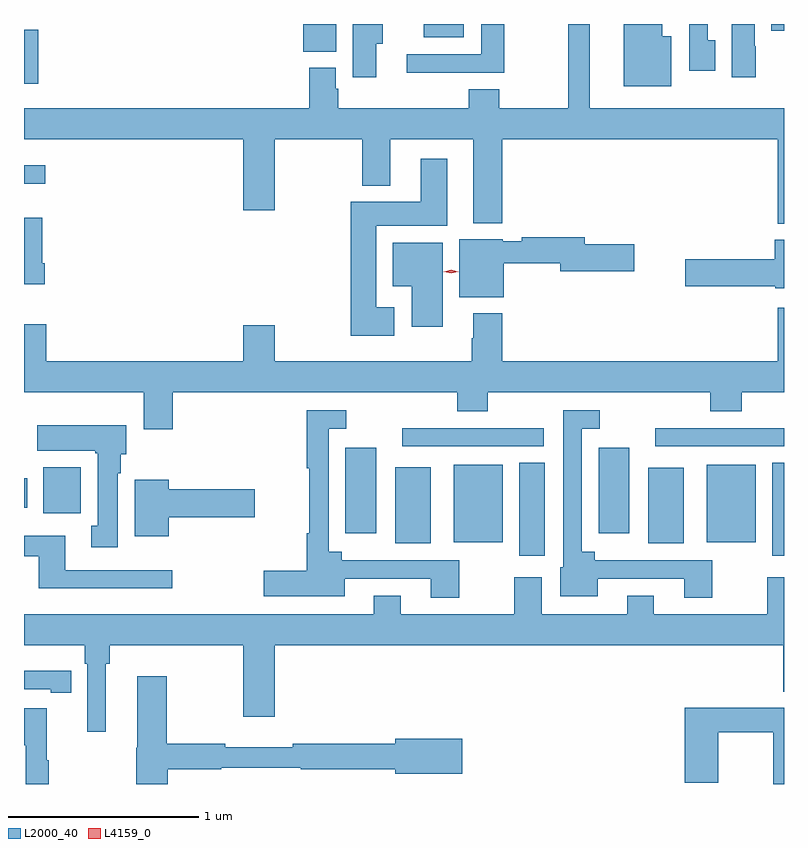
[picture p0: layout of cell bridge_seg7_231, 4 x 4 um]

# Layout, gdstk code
import gdstk
lib = gdstk.Library(unit=1e-6, precision=1e-09)
def R(c, l, rs):  # rectangles x0, y0, x1, y1
    for r in rs: c.add(gdstk.rectangle(r[:2], r[2:], *l))
def P(c, l, *ps):  # polygons
    for p in ps: c.add(gdstk.Polygon(p, *l))
L2000_40 = (2000, 40)
L4159_0 = (4159, 0)

bridge_seg7_231 = lib.new_cell('bridge_seg7_231')
R(bridge_seg7_231, L2000_40, [(274.352,1026.396,274.486,1026.887), (275.684,1026.396,275.745,1026.887), (273.698,1026.461,273.886,1026.862), (275.03,1026.461,275.218,1026.859), (274.007,1026.467,274.264,1026.874), (275.339,1026.467,275.596,1026.874), (273.437,1026.516,273.598,1026.964), (274.769,1026.516,274.93,1026.964), (271.847,1026.62,272.044,1026.862), (271.745,1026.648,271.762,1026.804), (273.735,1026.972,274.48,1027.068), (275.067,1026.972,275.745,1027.068), (271.745,1028.355,271.858,1028.452), (271.745,1028.88,271.82,1029.166), (273.215,1029.05,273.388,1029.195), (273.848,1029.125,274.06,1029.195), (275.678,1029.159,275.745,1029.195)])
P(bridge_seg7_231, L2000_40, [(275.745,1028.752),(274.723,1028.752),(274.723,1029.195),(274.609,1029.195),(274.609,1028.752),(274.245,1028.752),(274.245,1028.851),(274.085,1028.851),(274.085,1028.752),(273.398,1028.752),(273.398,1028.853),(273.385,1028.853),(273.385,1028.965),(273.245,1028.965),(273.245,1028.752),(271.745,1028.752),(271.745,1028.588),(272.9,1028.588),(272.9,1028.214),(273.064,1028.214),(273.064,1028.588),(273.526,1028.588),(273.526,1028.345),(273.673,1028.345),(273.673,1028.588),(274.109,1028.588),(274.109,1028.147),(274.262,1028.147),(274.262,1028.588),(275.712,1028.588),(275.712,1028.144),(275.745,1028.144)],
  [(275.383,1029.11),(275.343,1029.11),(275.343,1029.195),(275.246,1029.195),(275.246,1028.949),(275.383,1028.949)],
  [(273.598,1029.092),(273.634,1029.092),(273.634,1029.195),(273.476,1029.195),(273.476,1028.916),(273.598,1028.916)],
  [(275.152,1029.13),(275.104,1029.13),(275.104,1029.195),(274.901,1029.195),(274.901,1028.867),(275.152,1028.867)],
  [(274.272,1029.195),(274.151,1029.195),(274.151,1029.036),(273.759,1029.036),(273.759,1028.939),(274.272,1028.939)],
  [(275.596,1029.078),(275.59,1029.078),(275.59,1029.195),(275.471,1029.195),(275.471,1028.916),(275.596,1028.916)],
  [(273.694,1027.705),(273.598,1027.705),(273.598,1028.132),(273.973,1028.132),(273.973,1028.485),(273.833,1028.485),(273.833,1028.26),(273.464,1028.26),(273.464,1027.553),(273.694,1027.553)],
  [(271.853,1027.936),(271.84,1027.936),(271.84,1028.176),(271.745,1028.176),(271.745,1027.824),(271.853,1027.824)],
  [(274.27,1027.936),(274.568,1027.936),(274.568,1027.894),(274.957,1027.894),(274.957,1028.036),(274.696,1028.036),(274.696,1028.072),(274.366,1028.072),(274.366,1028.052),(274.266,1028.052),(274.266,1028.062),(274.037,1028.062),(274.037,1027.757),(274.27,1027.757)],
  [(275.745,1028.059),(275.696,1028.059),(275.696,1027.958),(275.226,1027.958),(275.226,1027.816),(275.7,1027.816),(275.7,1027.805),(275.745,1027.805)],
  [(273.949,1028.044),(273.686,1028.044),(273.686,1027.814),(273.785,1027.814),(273.785,1027.602),(273.949,1027.602)],
  [(272.528,1027.256),(274.025,1027.256),(274.025,1027.157),(274.185,1027.157),(274.185,1027.256),(275.357,1027.256),(275.357,1027.157),(275.522,1027.157),(275.522,1027.256),(275.745,1027.256),(275.745,1027.702),(275.712,1027.702),(275.712,1027.42),(274.262,1027.42),(274.262,1027.672),(274.109,1027.672),(274.109,1027.541),(274.102,1027.541),(274.102,1027.42),(273.064,1027.42),(273.064,1027.609),(272.9,1027.609),(272.9,1027.42),(271.862,1027.42),(271.862,1027.615),(271.745,1027.615),(271.745,1027.256),(272.375,1027.256),(272.375,1027.062),(272.528,1027.062)],
  [(274.035,1026.372),(273.418,1026.372),(273.418,1026.418),(273.348,1026.418),(273.348,1027.065),(273.442,1027.065),(273.442,1027.161),(273.232,1027.161),(273.232,1026.858),(273.247,1026.858),(273.247,1026.514),(273.232,1026.514),(273.232,1026.317),(273.006,1026.317),(273.006,1026.182),(273.433,1026.182),(273.433,1026.276),(273.887,1026.276),(273.887,1026.174),(274.035,1026.174)],
  [(275.367,1026.372),(274.75,1026.372),(274.75,1026.418),(274.68,1026.418),(274.68,1027.065),(274.774,1027.065),(274.774,1027.161),(274.584,1027.161),(274.584,1026.336),(274.568,1026.336),(274.568,1026.182),(274.765,1026.182),(274.765,1026.276),(275.219,1026.276),(275.219,1026.174),(275.367,1026.174)],
  [(272.239,1026.83),(272.254,1026.83),(272.254,1026.93),(272.284,1026.93),(272.284,1027.084),(271.815,1027.084),(271.815,1026.95),(272.119,1026.95),(272.119,1026.937),(272.132,1026.937),(272.132,1026.554),(272.099,1026.554),(272.099,1026.441),(272.239,1026.441)],
  [(272.506,1026.599),(272.959,1026.599),(272.959,1026.746),(272.506,1026.746),(272.506,1026.796),(272.327,1026.796),(272.327,1026.5),(272.506,1026.5)],
  [(272.524,1026.321),(271.963,1026.321),(271.963,1026.502),(271.745,1026.502),(271.745,1026.393),(271.823,1026.393),(271.823,1026.224),(272.524,1026.224)],
  [(271.745,1025.924),(272.066,1025.924),(272.066,1025.828),(272.079,1025.828),(272.079,1025.469),(272.176,1025.469),(272.176,1025.828),(272.195,1025.828),(272.195,1025.924),(272.9,1025.924),(272.9,1025.55),(273.064,1025.55),(273.064,1025.924),(275.741,1025.924),(275.741,1025.681),(275.745,1025.681),(275.745,1026.283),(275.656,1026.283),(275.656,1026.088),(275.059,1026.088),(275.059,1026.187),(274.919,1026.187),(274.919,1026.088),(274.471,1026.088),(274.471,1026.283),(274.324,1026.283),(274.324,1026.088),(273.727,1026.088),(273.727,1026.187),(273.587,1026.187),(273.587,1026.088),(271.745,1026.088)],
  [(271.994,1025.79),(271.886,1025.79),(271.886,1025.791),(271.745,1025.791),(271.745,1025.694),(271.886,1025.694),(271.886,1025.674),(271.994,1025.674)],
  [(272.501,1025.272),(272.784,1025.272),(272.784,1025.28),(273.202,1025.28),(273.202,1025.272),(273.698,1025.272),(273.698,1025.249),(274.051,1025.249),(274.051,1025.432),(273.698,1025.432),(273.698,1025.408),(273.16,1025.408),(273.16,1025.389),(272.804,1025.389),(272.804,1025.408),(272.496,1025.408),(272.496,1025.761),(272.342,1025.761),(272.342,1025.385),(272.335,1025.385),(272.335,1025.195),(272.501,1025.195)],
  [(275.745,1025.596),(275.222,1025.596),(275.222,1025.202),(275.4,1025.202),(275.4,1025.467),(275.689,1025.467),(275.689,1025.195),(275.745,1025.195)],
  [(271.876,1025.321),(271.865,1025.321),(271.865,1025.593),(271.747,1025.593),(271.747,1025.514),(271.745,1025.514),(271.745,1025.398),(271.755,1025.398),(271.755,1025.195),(271.876,1025.195)])
P(bridge_seg7_231, L4159_0, [(273.993,1027.882),(273.955,1027.892),(273.955,1027.892),(273.955,1027.892),(273.993,1027.902),(274.03,1027.892),(274.03,1027.892),(274.03,1027.892)])

lib.write_gds('bridge_seg7_231.gds')
